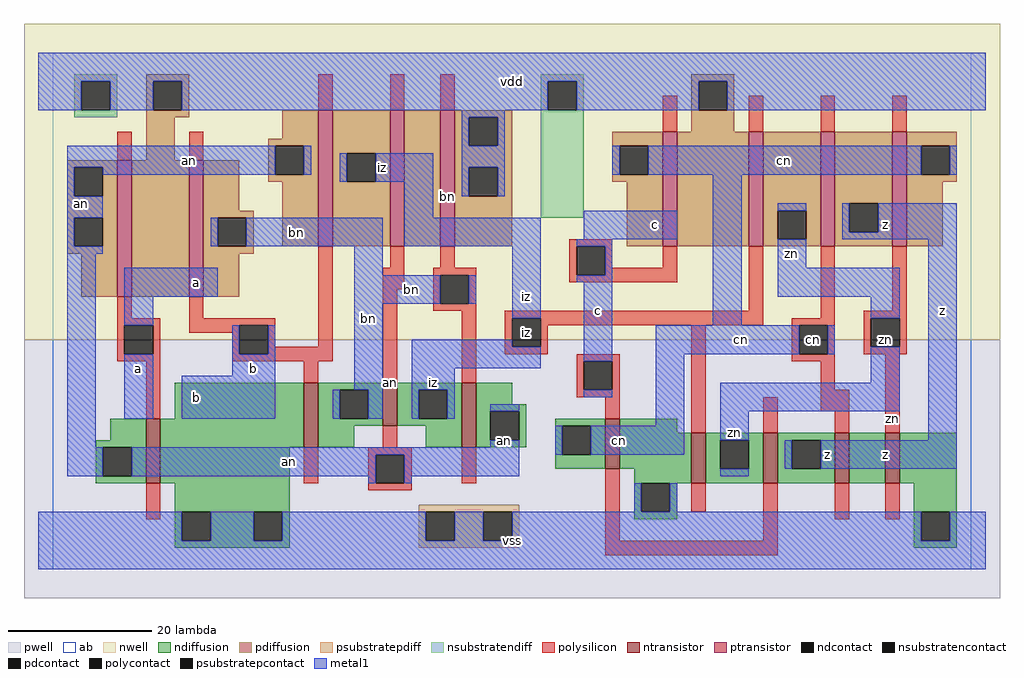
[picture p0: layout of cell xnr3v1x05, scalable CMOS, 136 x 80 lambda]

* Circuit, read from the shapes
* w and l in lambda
.subckt xnr3v1x05 a an b bn c cn iz vdd vss z zn
M1 vss a an vss nfet w=9 l=2
M2 bn b vss vss nfet w=9 l=2
M3 iz an bn vss nfet w=6 l=2
M4 an bn iz vss nfet w=9 l=2
M5 vss c cn vss nfet w=7 l=2
M6 zn iz vss vss nfet w=7 l=2
M7 z c zn vss nfet w=7 l=2
M8 n1 cn z vss nfet w=7 l=2
M9 vss zn n1 vss nfet w=7 l=2
M10 vdd a an vdd pfet w=19 l=2
M11 bn b vdd vdd pfet w=19 l=2
M12 iz b an vdd pfet w=19 l=2
M13 n2 an iz vdd pfet w=19 l=2
M14 vdd bn n2 vdd pfet w=19 l=2
M15 vdd c cn vdd pfet w=16 l=2
M16 zn iz vdd vdd pfet w=16 l=2
M17 z cn zn vdd pfet w=16 l=2
M18 cn zn z vdd pfet w=16 l=2
.ends

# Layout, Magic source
magic
tech scmos
<< ab >>
rect 0 0 128 72
<< pwell >>
rect -4 -4 132 32
<< nwell >>
rect -4 32 132 76
<< polysilicon >>
rect 37 64 39 69
rect 47 64 49 69
rect 54 64 56 69
rect 9 57 11 61
rect 19 57 21 61
rect 85 61 87 66
rect 97 61 99 66
rect 107 61 109 66
rect 117 61 119 66
rect 72 45 78 46
rect 9 35 11 38
rect 19 35 21 38
rect 9 34 15 35
rect 9 30 10 34
rect 14 30 15 34
rect 19 34 31 35
rect 19 33 26 34
rect 9 29 15 30
rect 25 30 26 33
rect 30 31 31 34
rect 37 31 39 45
rect 47 42 49 45
rect 54 42 56 45
rect 30 30 39 31
rect 25 29 39 30
rect 46 39 49 42
rect 53 41 59 42
rect 13 21 15 29
rect 35 26 37 29
rect 46 26 48 39
rect 53 37 54 41
rect 58 37 59 41
rect 72 41 73 45
rect 77 42 78 45
rect 85 42 87 45
rect 77 41 87 42
rect 72 40 87 41
rect 53 36 59 37
rect 97 36 99 45
rect 57 26 59 36
rect 63 35 99 36
rect 107 35 109 45
rect 117 36 119 45
rect 63 31 64 35
rect 68 34 99 35
rect 103 34 109 35
rect 68 31 69 34
rect 63 30 69 31
rect 73 29 79 30
rect 46 17 48 20
rect 73 25 74 29
rect 78 25 79 29
rect 73 24 79 25
rect 77 21 79 24
rect 35 12 37 17
rect 44 16 50 17
rect 44 12 45 16
rect 49 12 50 16
rect 57 12 59 17
rect 89 19 91 34
rect 103 30 104 34
rect 108 30 109 34
rect 113 35 119 36
rect 113 31 114 35
rect 118 31 119 35
rect 113 30 119 31
rect 103 29 109 30
rect 107 25 109 29
rect 99 19 101 24
rect 107 22 111 25
rect 109 19 111 22
rect 116 19 118 30
rect 13 7 15 12
rect 44 11 50 12
rect 77 4 79 14
rect 89 8 91 12
rect 99 4 101 12
rect 109 7 111 12
rect 116 7 118 12
rect 77 2 101 4
<< ndiffusion >>
rect 17 21 35 26
rect 8 18 13 21
rect 6 17 13 18
rect 6 13 7 17
rect 11 13 13 17
rect 6 12 13 13
rect 15 17 35 21
rect 37 25 46 26
rect 37 21 40 25
rect 44 21 46 25
rect 37 20 46 21
rect 48 25 57 26
rect 48 21 51 25
rect 55 21 57 25
rect 48 20 57 21
rect 37 17 42 20
rect 52 17 57 20
rect 59 23 64 26
rect 59 22 66 23
rect 59 18 61 22
rect 65 18 66 22
rect 59 17 66 18
rect 70 20 77 21
rect 15 12 33 17
rect 70 16 71 20
rect 75 16 77 20
rect 70 14 77 16
rect 79 19 87 21
rect 79 14 89 19
rect 17 8 33 12
rect 17 4 18 8
rect 22 4 28 8
rect 32 4 33 8
rect 17 3 33 4
rect 81 12 89 14
rect 91 18 99 19
rect 91 14 93 18
rect 97 14 99 18
rect 91 12 99 14
rect 101 18 109 19
rect 101 14 103 18
rect 107 14 109 18
rect 101 12 109 14
rect 111 12 116 19
rect 118 12 126 19
rect 81 8 82 12
rect 86 8 87 12
rect 81 7 87 8
rect 120 8 126 12
rect 120 4 121 8
rect 125 4 126 8
rect 120 3 126 4
<< pdiffusion >>
rect 13 68 19 69
rect 13 64 14 68
rect 18 64 19 68
rect 89 68 95 69
rect 13 63 19 64
rect 13 57 17 63
rect 32 60 37 64
rect 30 59 37 60
rect 2 56 9 57
rect 2 52 3 56
rect 7 52 9 56
rect 2 49 9 52
rect 2 45 3 49
rect 7 45 9 49
rect 2 44 9 45
rect 4 38 9 44
rect 11 38 19 57
rect 21 50 26 57
rect 30 55 31 59
rect 35 55 37 59
rect 30 54 37 55
rect 21 49 28 50
rect 21 45 23 49
rect 27 45 28 49
rect 32 45 37 54
rect 39 58 47 64
rect 39 54 41 58
rect 45 54 47 58
rect 39 45 47 54
rect 49 45 54 64
rect 56 63 64 64
rect 56 59 58 63
rect 62 59 64 63
rect 56 56 64 59
rect 56 52 58 56
rect 62 52 64 56
rect 56 45 64 52
rect 89 64 90 68
rect 94 64 95 68
rect 89 61 95 64
rect 78 59 85 61
rect 78 55 79 59
rect 83 55 85 59
rect 78 54 85 55
rect 80 45 85 54
rect 87 45 97 61
rect 99 50 107 61
rect 99 46 101 50
rect 105 46 107 50
rect 99 45 107 46
rect 109 51 117 61
rect 109 47 111 51
rect 115 47 117 51
rect 109 45 117 47
rect 119 59 126 61
rect 119 55 121 59
rect 125 55 126 59
rect 119 54 126 55
rect 119 45 124 54
rect 21 44 28 45
rect 21 38 26 44
<< metal1 >>
rect -2 68 130 72
rect -2 64 4 68
rect 8 64 14 68
rect 18 64 69 68
rect 73 64 90 68
rect 94 64 130 68
rect 57 63 63 64
rect 57 59 58 63
rect 62 59 63 63
rect 2 56 31 59
rect 2 52 3 56
rect 7 55 31 56
rect 35 55 36 59
rect 40 54 41 58
rect 45 54 53 58
rect 2 49 7 52
rect 49 49 53 54
rect 57 56 63 59
rect 57 52 58 56
rect 62 52 63 56
rect 78 55 79 59
rect 83 55 121 59
rect 125 55 126 59
rect 2 45 3 49
rect 22 45 23 49
rect 27 45 46 49
rect 49 45 68 49
rect 74 46 87 50
rect 2 44 7 45
rect 2 17 6 44
rect 10 38 23 42
rect 42 41 46 45
rect 10 34 14 38
rect 42 37 54 41
rect 58 37 59 41
rect 10 21 14 30
rect 25 30 26 34
rect 30 30 31 34
rect 25 27 31 30
rect 18 21 31 27
rect 42 25 46 37
rect 64 35 68 45
rect 73 45 78 46
rect 77 41 78 45
rect 73 40 78 41
rect 39 21 40 25
rect 44 21 46 25
rect 50 31 64 32
rect 50 28 68 31
rect 74 29 78 40
rect 92 34 96 55
rect 101 50 105 51
rect 110 47 111 51
rect 115 47 126 51
rect 110 46 126 47
rect 101 42 105 46
rect 101 38 118 42
rect 114 35 118 38
rect 50 25 56 28
rect 50 21 51 25
rect 55 21 56 25
rect 74 24 78 25
rect 84 30 104 34
rect 108 30 109 34
rect 61 22 65 23
rect 84 20 88 30
rect 114 26 118 31
rect 61 17 65 18
rect 2 13 7 17
rect 11 16 65 17
rect 70 16 71 20
rect 75 16 88 20
rect 93 22 118 26
rect 93 18 97 22
rect 122 18 126 46
rect 11 13 45 16
rect 44 12 45 13
rect 49 13 65 16
rect 102 14 103 18
rect 107 14 126 18
rect 93 13 97 14
rect 49 12 50 13
rect 81 8 82 12
rect 86 8 87 12
rect -2 4 18 8
rect 22 4 28 8
rect 32 4 52 8
rect 56 4 60 8
rect 64 4 121 8
rect 125 4 130 8
rect -2 0 130 4
<< ntransistor >>
rect 13 12 15 21
rect 35 17 37 26
rect 46 20 48 26
rect 57 17 59 26
rect 77 14 79 21
rect 89 12 91 19
rect 99 12 101 19
rect 109 12 111 19
rect 116 12 118 19
<< ptransistor >>
rect 9 38 11 57
rect 19 38 21 57
rect 37 45 39 64
rect 47 45 49 64
rect 54 45 56 64
rect 85 45 87 61
rect 97 45 99 61
rect 107 45 109 61
rect 117 45 119 61
<< polycontact >>
rect 10 30 14 34
rect 26 30 30 34
rect 54 37 58 41
rect 73 41 77 45
rect 64 31 68 35
rect 74 25 78 29
rect 45 12 49 16
rect 104 30 108 34
rect 114 31 118 35
<< ndcontact >>
rect 7 13 11 17
rect 40 21 44 25
rect 51 21 55 25
rect 61 18 65 22
rect 71 16 75 20
rect 18 4 22 8
rect 28 4 32 8
rect 93 14 97 18
rect 103 14 107 18
rect 82 8 86 12
rect 121 4 125 8
<< pdcontact >>
rect 14 64 18 68
rect 3 52 7 56
rect 3 45 7 49
rect 31 55 35 59
rect 23 45 27 49
rect 41 54 45 58
rect 58 59 62 63
rect 58 52 62 56
rect 90 64 94 68
rect 79 55 83 59
rect 101 46 105 50
rect 111 47 115 51
rect 121 55 125 59
<< psubstratepcontact >>
rect 52 4 56 8
rect 60 4 64 8
<< nsubstratencontact >>
rect 4 64 8 68
rect 69 64 73 68
<< psubstratepdiff >>
rect 51 8 65 9
rect 51 4 52 8
rect 56 4 60 8
rect 64 4 65 8
rect 51 3 65 4
<< nsubstratendiff >>
rect 3 68 9 69
rect 3 64 4 68
rect 8 64 9 68
rect 3 63 9 64
rect 68 68 74 69
rect 68 64 69 68
rect 73 64 74 68
rect 68 49 74 64
<< labels >>
rlabel polysilicon 47 26 47 26 6 an
rlabel ptransistor 55 52 55 52 6 bn
rlabel polycontact 66 33 66 33 6 iz
rlabel polycontact 106 32 106 32 6 cn
rlabel polysilicon 117 21 117 21 6 zn
rlabel metal1 20 24 20 24 6 b
rlabel metal1 12 28 12 28 6 a
rlabel metal1 20 40 20 40 6 a
rlabel metal1 4 51 4 51 6 an
rlabel metal1 28 28 28 28 6 b
rlabel metal1 44 35 44 35 6 bn
rlabel metal1 34 47 34 47 6 bn
rlabel metal1 19 57 19 57 6 an
rlabel metal1 64 4 64 4 6 vss
rlabel metal1 63 18 63 18 6 an
rlabel metal1 33 15 33 15 6 an
rlabel metal1 53 26 53 26 6 iz
rlabel metal1 50 39 50 39 6 bn
rlabel metal1 66 38 66 38 6 iz
rlabel metal1 46 56 46 56 6 iz
rlabel metal1 64 68 64 68 6 vdd
rlabel metal1 95 19 95 19 6 zn
rlabel metal1 79 18 79 18 6 cn
rlabel metal1 76 36 76 36 6 c
rlabel metal1 84 48 84 48 6 c
rlabel metal1 108 16 108 16 6 z
rlabel metal1 116 16 116 16 6 z
rlabel polycontact 116 32 116 32 6 zn
rlabel metal1 96 32 96 32 6 cn
rlabel metal1 124 36 124 36 6 z
rlabel metal1 103 44 103 44 6 zn
rlabel metal1 116 48 116 48 6 z
rlabel metal1 102 57 102 57 6 cn
<< end >>
